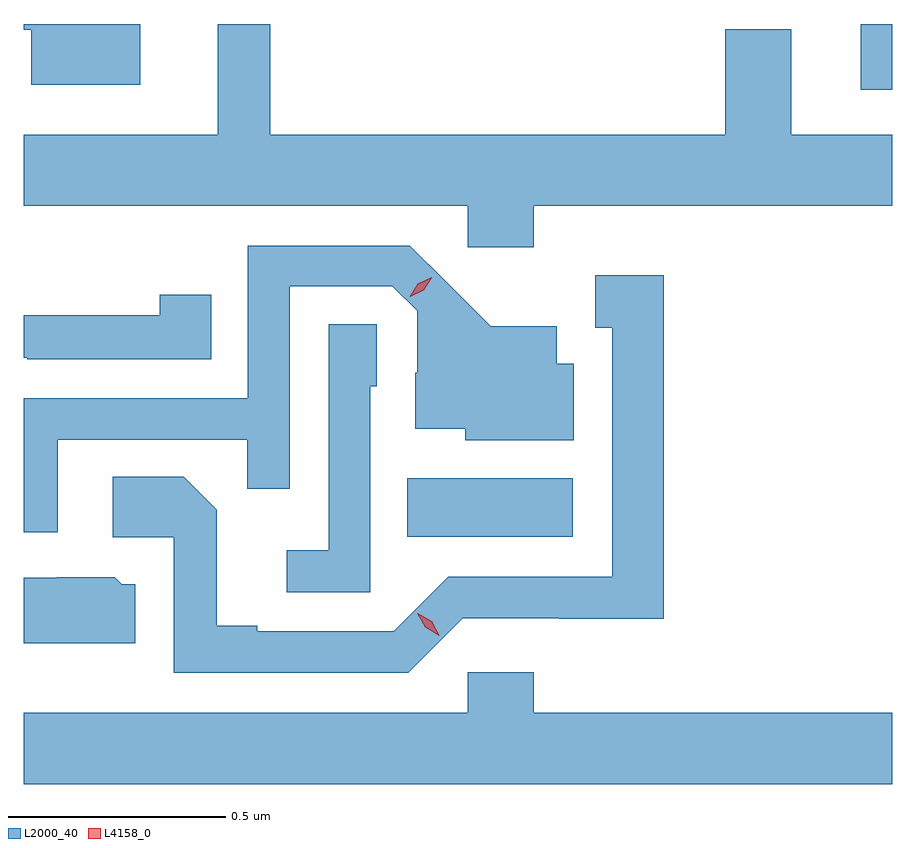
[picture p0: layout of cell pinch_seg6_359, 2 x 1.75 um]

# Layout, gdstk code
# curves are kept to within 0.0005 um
import gdstk
lib = gdstk.Library(unit=1e-6, precision=1e-09)
def R(c, l, rs):  # rectangles x0, y0, x1, y1
    for r in rs: c.add(gdstk.rectangle(r[:2], r[2:], *l))
def P(c, l, *ps):  # polygons
    for p in ps: c.add(gdstk.Polygon(p, *l))
L2000_40 = (2000, 40)
L4158_0 = (4158, 0)

pinch_seg6_359 = lib.new_cell('pinch_seg6_359')
R(pinch_seg6_359, L2000_40, [(754.75,942.578,755.131,942.712), (755.795,943.608,755.867,943.759)])
P(pinch_seg6_359, L2000_40, [(755.042,943.34),(755.867,943.34),(755.867,943.504),(755.635,943.504),(755.635,943.747),(755.483,943.747),(755.483,943.504),(754.435,943.504),(754.435,943.759),(754.313,943.759),(754.313,943.504),(753.867,943.504),(753.867,943.34),(754.89,943.34),(754.89,943.245),(755.042,943.245)],
  [(754.135,943.759),(753.867,943.759),(753.867,943.746),(753.884,943.746),(753.884,943.619),(754.135,943.619)],
  [(753.945,942.801),(754.381,942.801),(754.381,942.688),(754.479,942.688),(754.479,943.155),(754.716,943.155),(754.773,943.098),(754.773,942.956),(754.769,942.956),(754.769,942.827),(754.884,942.827),(754.884,942.8),(755.134,942.8),(755.134,942.976),(755.095,942.976),(755.095,943.063),(754.943,943.063),(754.756,943.248),(754.383,943.248),(754.383,942.897),(753.867,942.897),(753.867,942.588),(753.945,942.588)],
  [(754.878,942.39),(755.1,942.39),(755.1,942.389),(755.341,942.389),(755.341,943.18),(755.183,943.18),(755.183,943.059),(755.222,943.059),(755.222,942.486),(754.845,942.486),(754.719,942.36),(754.405,942.36),(754.405,942.373),(754.311,942.373),(754.311,942.64),(754.235,942.716),(754.071,942.716),(754.071,942.576),(754.212,942.576),(754.212,942.264),(754.752,942.264)],
  [(754.298,943.135),(754.18,943.135),(754.18,943.088),(753.867,943.088),(753.867,942.99),(753.874,942.99),(753.874,942.987),(754.298,942.987)],
  [(754.665,942.924),(754.68,942.924),(754.68,943.067),(754.569,943.067),(754.569,942.547),(754.473,942.547),(754.473,942.45),(754.665,942.45)],
  [(754.123,942.468),(754.092,942.468),(754.076,942.484),(753.942,942.484),(753.942,942.483),(753.867,942.483),(753.867,942.332),(754.123,942.332)],
  [(755.867,942.172),(755.042,942.172),(755.042,942.265),(754.89,942.265),(754.89,942.172),(753.867,942.172),(753.867,942.008),(755.867,942.008)])
P(pinch_seg6_359, L4158_0, [(754.824,942.35),(754.792,942.369),(754.773,942.401),(754.773,942.401),(754.774,942.401),(754.806,942.383),(754.824,942.351),(754.824,942.35)],
  [(754.756,943.131),(754.756,943.131),(754.774,943.16),(754.806,943.175),(754.806,943.175),(754.806,943.174),(754.788,943.145),(754.757,943.131)])

lib.write_gds('pinch_seg6_359.gds')
